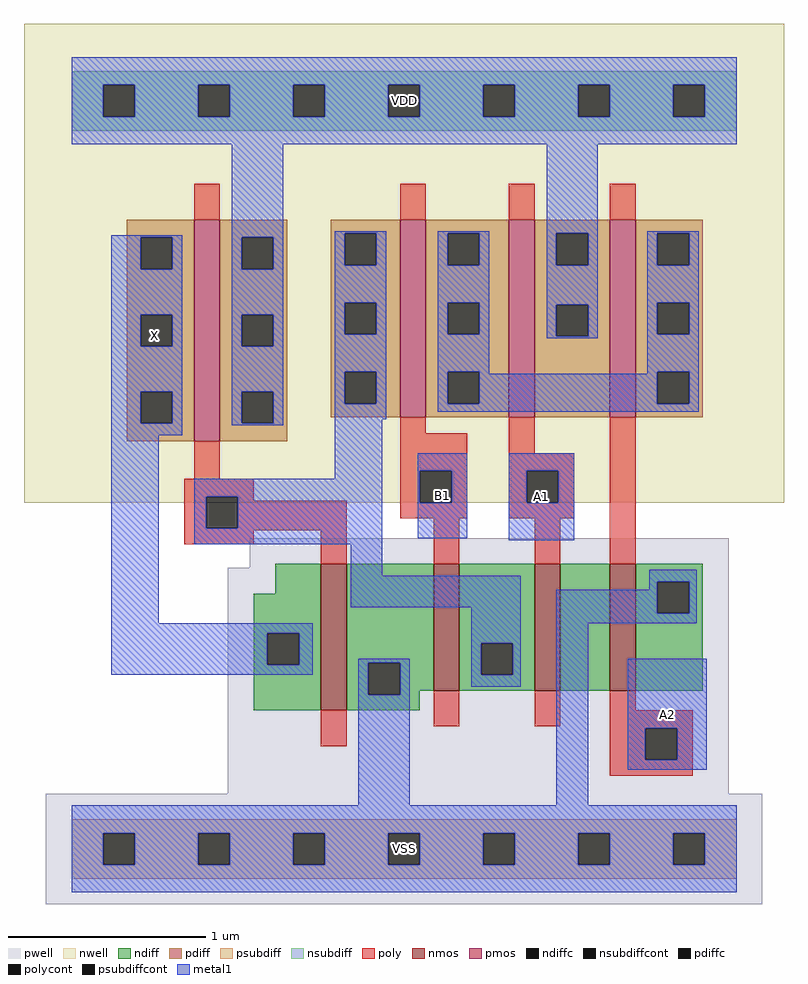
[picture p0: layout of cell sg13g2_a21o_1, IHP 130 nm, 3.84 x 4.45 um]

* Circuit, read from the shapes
.subckt sg13g2_a21o_1 B1 X VDD VSS A1 A2
XM1 VSS n1 X VSS sg13_lv_nmos w=0.74u l=0.13u
XM2 n1 B1 VSS VSS sg13_lv_nmos w=0.64u l=0.13u
XM3 n2 A1 n1 VSS sg13_lv_nmos w=0.64u l=0.13u
XM4 VSS A2 n2 VSS sg13_lv_nmos w=0.64u l=0.13u
XM5 VDD n1 X VDD sg13_lv_pmos w=1.12u l=0.13u
XM6 n3 B1 n1 VDD sg13_lv_pmos w=1u l=0.13u
XM7 VDD A1 n3 VDD sg13_lv_pmos w=1u l=0.13u
XM8 n3 A2 VDD VDD sg13_lv_pmos w=1u l=0.13u
.ends

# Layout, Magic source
magic
tech ihp-sg13g2
<< nwell >>
rect -24 175 360 417
<< pwell >>
rect 90 142 332 157
rect 79 28 332 142
rect -13 -28 349 28
<< nmos >>
rect 126 70 139 144
rect 183 80 196 144
rect 234 80 247 144
rect 272 80 285 144
<< pmos >>
rect 62 206 75 318
rect 166 218 179 318
rect 221 218 234 318
rect 272 218 285 318
<< ndiff >>
rect 103 129 126 144
rect 92 109 126 129
rect 92 93 99 109
rect 115 93 126 109
rect 92 70 126 93
rect 139 94 183 144
rect 139 78 150 94
rect 166 80 183 94
rect 196 104 234 144
rect 196 88 207 104
rect 223 88 234 104
rect 196 80 234 88
rect 247 80 272 144
rect 285 135 319 144
rect 285 119 296 135
rect 312 119 319 135
rect 285 80 319 119
rect 166 78 176 80
rect 139 70 176 78
<< pdiff >>
rect 28 309 62 318
rect 28 293 35 309
rect 51 293 62 309
rect 28 270 62 293
rect 28 254 35 270
rect 51 254 62 270
rect 28 231 62 254
rect 28 215 35 231
rect 51 215 62 231
rect 28 206 62 215
rect 75 309 109 318
rect 75 293 86 309
rect 102 293 109 309
rect 75 270 109 293
rect 75 254 86 270
rect 102 254 109 270
rect 75 231 109 254
rect 75 215 86 231
rect 102 215 109 231
rect 131 311 166 318
rect 131 295 138 311
rect 154 295 166 311
rect 131 276 166 295
rect 131 260 138 276
rect 154 260 166 276
rect 131 241 166 260
rect 131 225 138 241
rect 154 225 166 241
rect 131 218 166 225
rect 179 311 221 318
rect 179 295 190 311
rect 206 295 221 311
rect 179 276 221 295
rect 179 260 190 276
rect 206 260 221 276
rect 179 241 221 260
rect 179 225 190 241
rect 206 225 221 241
rect 179 218 221 225
rect 234 311 272 318
rect 234 295 245 311
rect 261 295 272 311
rect 234 275 272 295
rect 234 259 245 275
rect 261 259 272 275
rect 234 218 272 259
rect 285 311 319 318
rect 285 295 296 311
rect 312 295 319 311
rect 285 276 319 295
rect 285 260 296 276
rect 312 260 319 276
rect 285 241 319 260
rect 285 225 296 241
rect 312 225 319 241
rect 285 218 319 225
rect 75 206 109 215
<< ndiffc >>
rect 99 93 115 109
rect 150 78 166 94
rect 207 88 223 104
rect 296 119 312 135
<< pdiffc >>
rect 35 293 51 309
rect 35 254 51 270
rect 35 215 51 231
rect 86 293 102 309
rect 86 254 102 270
rect 86 215 102 231
rect 138 295 154 311
rect 138 260 154 276
rect 138 225 154 241
rect 190 295 206 311
rect 190 260 206 276
rect 190 225 206 241
rect 245 295 261 311
rect 245 259 261 275
rect 296 295 312 311
rect 296 260 312 276
rect 296 225 312 241
<< psubdiff >>
rect 0 8 336 15
rect 0 -8 16 8
rect 32 -8 64 8
rect 80 -8 112 8
rect 128 -8 160 8
rect 176 -8 208 8
rect 224 -8 256 8
rect 272 -8 304 8
rect 320 -8 336 8
rect 0 -15 336 -8
<< nsubdiff >>
rect 0 386 336 393
rect 0 370 16 386
rect 32 370 64 386
rect 80 370 112 386
rect 128 370 160 386
rect 176 370 208 386
rect 224 370 256 386
rect 272 370 304 386
rect 320 370 336 386
rect 0 363 336 370
<< psubdiffcont >>
rect 16 -8 32 8
rect 64 -8 80 8
rect 112 -8 128 8
rect 160 -8 176 8
rect 208 -8 224 8
rect 256 -8 272 8
rect 304 -8 320 8
<< nsubdiffcont >>
rect 16 370 32 386
rect 64 370 80 386
rect 112 370 128 386
rect 160 370 176 386
rect 208 370 224 386
rect 256 370 272 386
rect 304 370 320 386
<< poly >>
rect 62 318 75 336
rect 166 318 179 336
rect 221 318 234 336
rect 272 318 285 336
rect 166 210 179 218
rect 62 187 75 206
rect 166 191 200 210
rect 57 178 92 187
rect 57 162 68 178
rect 84 176 92 178
rect 84 162 139 176
rect 166 175 176 191
rect 192 175 200 191
rect 166 167 200 175
rect 221 200 234 218
rect 221 191 254 200
rect 221 175 230 191
rect 246 175 254 191
rect 221 167 254 175
rect 57 161 139 162
rect 57 154 92 161
rect 126 144 139 161
rect 183 144 196 167
rect 234 144 247 167
rect 272 144 285 218
rect 126 52 139 70
rect 183 62 196 80
rect 234 62 247 80
rect 272 70 285 80
rect 272 61 314 70
rect 272 45 290 61
rect 306 45 314 61
rect 272 37 314 45
<< polycont >>
rect 68 162 84 178
rect 176 175 192 191
rect 230 175 246 191
rect 290 45 306 61
<< metal1 >>
rect 0 386 336 400
rect 0 370 16 386
rect 32 370 64 386
rect 80 370 112 386
rect 128 370 160 386
rect 176 370 208 386
rect 224 370 256 386
rect 272 370 304 386
rect 320 370 336 386
rect 0 356 336 370
rect 20 309 56 310
rect 20 293 35 309
rect 51 293 56 309
rect 20 270 56 293
rect 20 254 35 270
rect 51 254 56 270
rect 20 231 56 254
rect 20 215 35 231
rect 51 215 56 231
rect 20 209 56 215
rect 81 309 107 356
rect 81 293 86 309
rect 102 293 107 309
rect 81 270 107 293
rect 81 254 86 270
rect 102 254 107 270
rect 81 231 107 254
rect 81 215 86 231
rect 102 215 107 231
rect 81 214 107 215
rect 133 311 159 312
rect 133 295 138 311
rect 154 295 159 311
rect 133 276 159 295
rect 133 260 138 276
rect 154 260 159 276
rect 133 241 159 260
rect 133 225 138 241
rect 154 225 159 241
rect 133 217 159 225
rect 185 311 211 312
rect 185 295 190 311
rect 206 295 211 311
rect 185 276 211 295
rect 185 260 190 276
rect 206 260 211 276
rect 185 241 211 260
rect 240 311 266 356
rect 240 295 245 311
rect 261 295 266 311
rect 240 275 266 295
rect 240 259 245 275
rect 261 259 266 275
rect 240 258 266 259
rect 291 311 317 312
rect 291 295 296 311
rect 312 295 317 311
rect 291 276 317 295
rect 291 260 296 276
rect 312 260 317 276
rect 185 225 190 241
rect 206 240 211 241
rect 291 241 317 260
rect 291 240 296 241
rect 206 225 296 240
rect 312 225 317 241
rect 185 221 317 225
rect 20 114 44 209
rect 133 187 157 217
rect 62 178 157 187
rect 62 162 68 178
rect 84 162 157 178
rect 62 154 157 162
rect 175 191 200 200
rect 175 175 176 191
rect 192 175 200 191
rect 175 157 200 175
rect 221 191 254 200
rect 221 175 230 191
rect 246 175 254 191
rect 221 156 254 175
rect 141 138 157 154
rect 141 122 227 138
rect 292 135 316 141
rect 292 131 296 135
rect 20 109 122 114
rect 20 93 99 109
rect 115 93 122 109
rect 202 104 227 122
rect 20 88 122 93
rect 145 94 171 96
rect 145 78 150 94
rect 166 78 171 94
rect 202 88 207 104
rect 223 88 227 104
rect 202 82 227 88
rect 245 119 296 131
rect 312 119 316 135
rect 245 114 316 119
rect 145 22 171 78
rect 245 22 261 114
rect 281 61 321 96
rect 281 45 290 61
rect 306 45 321 61
rect 281 40 321 45
rect 0 8 336 22
rect 0 -8 16 8
rect 32 -8 64 8
rect 80 -8 112 8
rect 128 -8 160 8
rect 176 -8 208 8
rect 224 -8 256 8
rect 272 -8 304 8
rect 320 -8 336 8
rect 0 -22 336 -8
<< labels >>
flabel metal1 s 175 157 200 200 0 FreeSans 200 0 0 0 B1
port 2 nsew
flabel metal1 s 28 209 56 310 0 FreeSans 200 0 0 0 X
port 3 nsew
flabel metal1 s 0 356 336 400 0 FreeSans 200 0 0 0 VDD
port 4 nsew
flabel metal1 s 0 -22 336 22 0 FreeSans 200 0 0 0 VSS
port 5 nsew
flabel metal1 s 221 156 254 200 0 FreeSans 200 0 0 0 A1
port 6 nsew
flabel metal1 s 281 40 321 96 0 FreeSans 200 0 0 0 A2
port 7 nsew
<< properties >>
string FIXED_BBOX 0 0 336 378
string GDS_END 89618
string GDS_FILE ../gds/controller.gds
string GDS_START 84462
<< end >>
